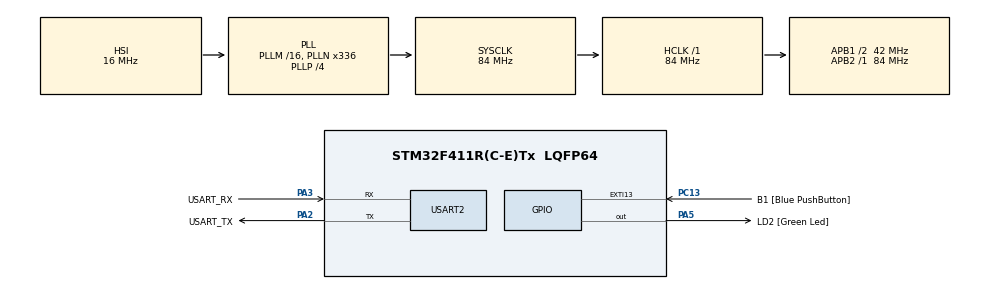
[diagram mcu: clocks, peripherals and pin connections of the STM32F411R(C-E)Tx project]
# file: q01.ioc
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Mcu.Family=STM32F4
Mcu.Name=STM32F411R(C-E)Tx
Mcu.Package=LQFP64
NVIC.EXTI15_10_IRQn=true\:0\:0\:false\:false\:true\:true\:true\:true
NVIC.PriorityGroup=NVIC_PRIORITYGROUP_0
PA13.GPIO_Label=TMS
PA13.Mode=Serial_Wire
PA13.Signal=SYS_JTMS-SWDIO
PA14.GPIO_Label=TCK
PA14.Mode=Serial_Wire
PA14.Signal=SYS_JTCK-SWCLK
PA2.GPIO_Label=USART_TX
PA2.Mode=Asynchronous
PA2.Signal=USART2_TX
PA3.GPIO_Label=USART_RX
PA3.Mode=Asynchronous
PA3.Signal=USART2_RX
PA5.GPIO_Label=LD2 [Green Led]
PA5.Signal=GPIO_Output
PB3.GPIO_Label=SWO
PB3.Signal=SYS_JTDO-SWO
PC13-ANTI_TAMP.GPIO_Label=B1 [Blue PushButton]
PC13-ANTI_TAMP.GPIO_ModeDefaultEXTI=GPIO_MODE_IT_FALLING
PC13-ANTI_TAMP.Signal=GPXTI13
PC14-OSC32_IN.Mode=LSE-External-Oscillator
PC14-OSC32_IN.Signal=RCC_OSC32_IN
PC15-OSC32_OUT.Mode=LSE-External-Oscillator
PC15-OSC32_OUT.Signal=RCC_OSC32_OUT
PH0\ -\ OSC_IN.Mode=HSE-External-Clock-Source
PH0\ -\ OSC_IN.Signal=RCC_OSC_IN
PH1\ -\ OSC_OUT.Mode=HSE-External-Clock-Source
PH1\ -\ OSC_OUT.Signal=RCC_OSC_OUT
ProjectManager.HeapSize=0x200
ProjectManager.StackSize=0x400
ProjectManager.TargetToolchain=STM32CubeIDE
RCC.48MHZClocksFreq_Value=84000000
RCC.AHBFreq_Value=84000000
RCC.APB1CLKDivider=RCC_HCLK_DIV2
RCC.APB1Freq_Value=42000000
RCC.APB1TimFreq_Value=84000000
RCC.APB2Freq_Value=84000000
RCC.APB2TimFreq_Value=84000000
RCC.CortexFreq_Value=84000000
RCC.FLatency-AdvancedSettings=FLASH_LATENCY_2
RCC.HCLKFreq_Value=84000000
RCC.HSE_VALUE=8000000
RCC.HSI_VALUE=16000000
RCC.PLLN=336
RCC.PLLP=RCC_PLLP_DIV4
RCC.SYSCLKFreq_VALUE=84000000
RCC.SYSCLKSource=RCC_SYSCLKSOURCE_PLLCLK
RCC.VCOOutputFreq_Value=336000000
USART2.VirtualMode=VM_ASYNC
board=NUCLEO-F411RE

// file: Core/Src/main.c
/* USER CODE BEGIN Header */
/**
  ******************************************************************************
  * @file           : main.c
  * @brief          : Main program body
  ******************************************************************************
  * @attention
  *
  * Copyright (c) 2023 STMicroelectronics.
  * All rights reserved.
  *
  * This software is licensed under terms that can be found in the LICENSE file
  * in the root directory of this software component.
  * If no LICENSE file comes with this software, it is provided AS-IS.
  *
  ******************************************************************************
  */
/* USER CODE END Header */
#include "main.h"

/* USER CODE BEGIN Includes */
#include "stdbool.h"
/* USER CODE END Includes */

UART_HandleTypeDef huart2;

void SystemClock_Config(void);
static void MX_GPIO_Init(void);
static void MX_USART2_UART_Init(void);

/* USER CODE BEGIN 0 */
int state = 0;
int press = false;
int holding = 0;
/* USER CODE END 0 */

int main(void)
{

  /* MCU Configuration--------------------------------------------------------*/

  /* Reset of all peripherals, Initializes the Flash interface and the Systick. */
  HAL_Init();

  /* Configure the system clock */
  SystemClock_Config();

  /* Initialize all configured peripherals */
  MX_GPIO_Init();
  MX_USART2_UART_Init();
  /* USER CODE BEGIN 2 */
  char text[] = "Power Down";
  /* USER CODE END 2 */

  /* Infinite loop */
  while (1)
  {

    /* USER CODE BEGIN 3 */
	  if (state != 3) {
		  if (!HAL_GPIO_ReadPin(GPIOC, GPIO_PIN_13) && !press) {
			  press = true;
			  state = (state + 1) % 2;
		  }

		  if (!HAL_GPIO_ReadPin(GPIOC, GPIO_PIN_13) && press && holding > 1900) {
			  state = 3;
			  HAL_UART_Transmit(&huart2, text, sizeof(text), 10);
		  }

		  if (HAL_GPIO_ReadPin(GPIOC, GPIO_PIN_13)) {
			  press = false;
		  }

		  if (state == 0) {
			  HAL_GPIO_WritePin(GPIOA, GPIO_PIN_5, GPIO_PIN_SET);
			  HAL_Delay(175);
			  HAL_GPIO_WritePin(GPIOA, GPIO_PIN_5, GPIO_PIN_RESET);
			  HAL_Delay(75);

			  if (press) {
				  holding += 250;
			  }

		  } if (state == 1) {
			  HAL_GPIO_WritePin(GPIOA, GPIO_PIN_5, GPIO_PIN_SET);
			  HAL_Delay(50);
			  HAL_GPIO_WritePin(GPIOA, GPIO_PIN_5, GPIO_PIN_RESET);
			  HAL_Delay(50);
			  if (press) {
				  holding += 100;
			  }
		  }
	  }
  }
  /* USER CODE END 3 */
}

void SystemClock_Config(void)
{
  RCC_OscInitTypeDef RCC_OscInitStruct = {0};
  RCC_ClkInitTypeDef RCC_ClkInitStruct = {0};

  /** Configure the main internal regulator output voltage
  */
  __HAL_RCC_PWR_CLK_ENABLE();
  __HAL_PWR_VOLTAGESCALING_CONFIG(PWR_REGULATOR_VOLTAGE_SCALE1);

  /** Initializes the RCC Oscillators according to the specified parameters
  * in the RCC_OscInitTypeDef structure.
  */
  RCC_OscInitStruct.OscillatorType = RCC_OSCILLATORTYPE_HSI;
  RCC_OscInitStruct.HSIState = RCC_HSI_ON;
  RCC_OscInitStruct.HSICalibrationValue = RCC_HSICALIBRATION_DEFAULT;
  RCC_OscInitStruct.PLL.PLLState = RCC_PLL_ON;
  RCC_OscInitStruct.PLL.PLLSource = RCC_PLLSOURCE_HSI;
  RCC_OscInitStruct.PLL.PLLM = 16;
  RCC_OscInitStruct.PLL.PLLN = 336;
  RCC_OscInitStruct.PLL.PLLP = RCC_PLLP_DIV4;
  RCC_OscInitStruct.PLL.PLLQ = 4;
  if (HAL_RCC_OscConfig(&RCC_OscInitStruct) != HAL_OK)
  {
    Error_Handler();
  }

  /** Initializes the CPU, AHB and APB buses clocks
  */
  RCC_ClkInitStruct.ClockType = RCC_CLOCKTYPE_HCLK|RCC_CLOCKTYPE_SYSCLK
                              |RCC_CLOCKTYPE_PCLK1|RCC_CLOCKTYPE_PCLK2;
  RCC_ClkInitStruct.SYSCLKSource = RCC_SYSCLKSOURCE_PLLCLK;
  RCC_ClkInitStruct.AHBCLKDivider = RCC_SYSCLK_DIV1;
  RCC_ClkInitStruct.APB1CLKDivider = RCC_HCLK_DIV2;
  RCC_ClkInitStruct.APB2CLKDivider = RCC_HCLK_DIV1;

  if (HAL_RCC_ClockConfig(&RCC_ClkInitStruct, FLASH_LATENCY_2) != HAL_OK)
  {
    Error_Handler();
  }
}

static void MX_USART2_UART_Init(void)
{

  huart2.Instance = USART2;
  huart2.Init.BaudRate = 115200;
  huart2.Init.WordLength = UART_WORDLENGTH_8B;
  huart2.Init.StopBits = UART_STOPBITS_1;
  huart2.Init.Parity = UART_PARITY_NONE;
  huart2.Init.Mode = UART_MODE_TX_RX;
  huart2.Init.HwFlowCtl = UART_HWCONTROL_NONE;
  huart2.Init.OverSampling = UART_OVERSAMPLING_16;
  if (HAL_UART_Init(&huart2) != HAL_OK)
  {
    Error_Handler();
  }

}

static void MX_GPIO_Init(void)
{
  GPIO_InitTypeDef GPIO_InitStruct = {0};

  /* GPIO Ports Clock Enable */
  __HAL_RCC_GPIOC_CLK_ENABLE();
  __HAL_RCC_GPIOH_CLK_ENABLE();
  __HAL_RCC_GPIOA_CLK_ENABLE();
  __HAL_RCC_GPIOB_CLK_ENABLE();

  /*Configure GPIO pin Output Level */
  HAL_GPIO_WritePin(LD2_GPIO_Port, LD2_Pin, GPIO_PIN_RESET);

  /*Configure GPIO pin : B1_Pin */
  GPIO_InitStruct.Pin = B1_Pin;
  GPIO_InitStruct.Mode = GPIO_MODE_IT_FALLING;
  GPIO_InitStruct.Pull = GPIO_NOPULL;
  HAL_GPIO_Init(B1_GPIO_Port, &GPIO_InitStruct);

  /*Configure GPIO pin : LD2_Pin */
  GPIO_InitStruct.Pin = LD2_Pin;
  GPIO_InitStruct.Mode = GPIO_MODE_OUTPUT_PP;
  GPIO_InitStruct.Pull = GPIO_NOPULL;
  GPIO_InitStruct.Speed = GPIO_SPEED_FREQ_LOW;
  HAL_GPIO_Init(LD2_GPIO_Port, &GPIO_InitStruct);

  /* EXTI interrupt init*/
  HAL_NVIC_SetPriority(EXTI15_10_IRQn, 0, 0);
  HAL_NVIC_EnableIRQ(EXTI15_10_IRQn);

}

void Error_Handler(void)
{
  __disable_irq();
  while (1)
  {
  }
}
